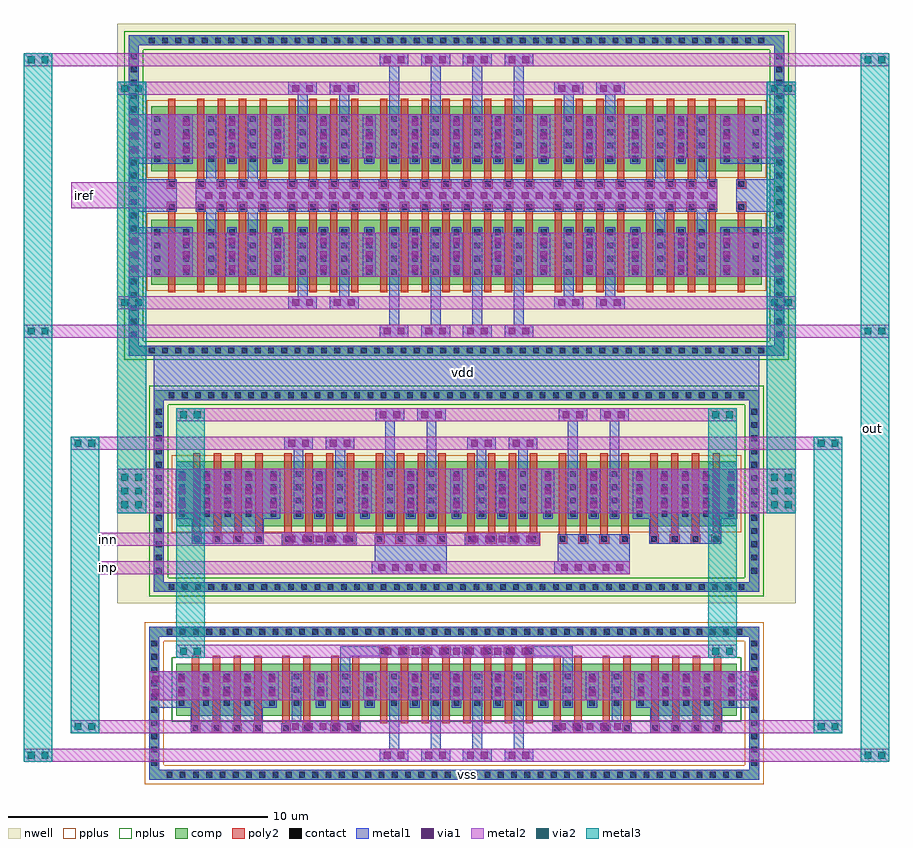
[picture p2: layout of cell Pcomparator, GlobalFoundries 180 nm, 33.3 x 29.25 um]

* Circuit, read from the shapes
.subckt Pcomparator inn inp iref out vdd vss
XM1 vss vss vss vss nfet_03v3 w=2u l=0.28u m=8
XM2 n1 n1 vss vss nfet_03v3 w=2u l=0.28u m=4
XM3 n2 n1 vss vss nfet_03v3 w=2u l=0.28u m=4
XM4 out n2 vss vss nfet_03v3 w=2u l=0.28u m=8
XM5 vdd vdd vdd vdd pfet_03v3 w=2.5u l=0.28u m=4
XM6 n3 n3 n3 vdd pfet_03v3 w=2.5u l=0.28u m=8
XM7 iref iref vdd vdd pfet_03v3 w=2.5u l=0.28u m=16
XM8 n1 inn n3 vdd pfet_03v3 w=2.5u l=0.28u m=8
XM9 n3 iref vdd vdd pfet_03v3 w=2.5u l=0.28u m=16
XM10 n2 inp n3 vdd pfet_03v3 w=2.5u l=0.28u m=8
XM11 out iref vdd vdd pfet_03v3 w=2.5u l=0.28u m=16
.ends

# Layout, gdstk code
import gdstk
lib = gdstk.Library(unit=1e-6, precision=5e-09)
def R(c, l, rs):  # rectangles x0, y0, x1, y1
    for r in rs: c.add(gdstk.rectangle(r[:2], r[2:], *l))
def A(c, l, x, y, w, h, nx, ny, dx, dy):  # array of equal rectangles
    R(c, l, [(x+i*dx, y+j*dy, x+i*dx+w, y+j*dy+h) for i in range(nx) for j in range(ny)])
nwell = (21, 0)
comp = (22, 0)
poly2 = (30, 0)
pplus = (31, 0)
nplus = (32, 0)
contact = (33, 0)
metal1 = (34, 0)
via1 = (35, 0)
metal2 = (36, 0)
via2 = (38, 0)
metal3 = (42, 0)

pfet_13 = lib.new_cell('pfet$13')
R(pfet_13, nwell, [(-0.9,-0.44,7.16,2.94)])
R(pfet_13, comp, [(-0.46,0,0,2.5), (0,0,6.26,2.5), (6.26,0,6.72,2.5)])
A(pfet_13, poly2, 0.19, -0.3, 0.28, 3.1, 8, 1, 0.8, 0)
A(pfet_13, poly2, 0.14, 2.8, 0.38, 0.38, 8, 1, 0.8, 0)
R(pfet_13, pplus, [(-0.63,-0.24,6.89,2.74)])
A(pfet_13, contact, -0.34, 0.375, 0.22, 0.22, 1, 4, 0, 0.51)
A(pfet_13, contact, 0.62, 0.375, 0.22, 0.22, 7, 4, 0.8, 0.51)
A(pfet_13, contact, 6.38, 0.375, 0.22, 0.22, 1, 4, 0, 0.51)
A(pfet_13, contact, 0.22, 2.88, 0.22, 0.22, 8, 1, 0.8, 0)
A(pfet_13, metal1, 0.54, 0.295, 0.38, 1.91, 7, 1, 0.8, 0)
A(pfet_13, metal1, 0.14, 2.8, 0.38, 0.38, 8, 1, 0.8, 0)
R(pfet_13, metal1, [(-0.42,0.295,-0.04,2.205), (6.3,0.295,6.68,2.205)])

nfet_15 = lib.new_cell('nfet$15')
R(nfet_15, comp, [(-0.42,0,0,2), (0,0,6.26,2), (6.26,0,6.68,2)])
A(nfet_15, poly2, 0.15, -0.66, 0.36, 0.36, 8, 1, 0.8, 0)
A(nfet_15, poly2, 0.19, -0.3, 0.28, 2.6, 8, 1, 0.8, 0)
R(nfet_15, nplus, [(-0.59,-0.24,6.85,2.24)])
A(nfet_15, contact, 0.22, -0.59, 0.22, 0.22, 8, 1, 0.8, 0)
A(nfet_15, contact, -0.32, 0.38, 0.22, 0.22, 1, 3, 0, 0.51)
A(nfet_15, contact, 0.62, 0.38, 0.22, 0.22, 7, 3, 0.8, 0.51)
A(nfet_15, contact, 6.36, 0.38, 0.22, 0.22, 1, 3, 0, 0.51)
A(nfet_15, metal1, 0.14, -0.67, 0.38, 0.38, 8, 1, 0.8, 0)
A(nfet_15, metal1, 0.54, 0.3, 0.38, 1.4, 7, 1, 0.8, 0)
R(nfet_15, metal1, [(-0.4,0.3,-0.02,1.7), (6.28,0.3,6.66,1.7)])

pfet_14 = lib.new_cell('pfet$14')
R(pfet_14, nwell, [(-0.9,-0.44,3.96,2.94)])
R(pfet_14, comp, [(-0.46,0,0,2.5), (0,0,3.06,2.5), (3.06,0,3.52,2.5)])
A(pfet_14, poly2, 0.19, -0.3, 0.28, 3.1, 4, 1, 0.8, 0)
A(pfet_14, poly2, 0.14, 2.8, 0.38, 0.38, 4, 1, 0.8, 0)
R(pfet_14, pplus, [(-0.63,-0.24,3.69,2.74)])
A(pfet_14, contact, -0.34, 0.375, 0.22, 0.22, 1, 4, 0, 0.51)
A(pfet_14, contact, 0.62, 0.375, 0.22, 0.22, 3, 4, 0.8, 0.51)
A(pfet_14, contact, 3.18, 0.375, 0.22, 0.22, 1, 4, 0, 0.51)
A(pfet_14, contact, 0.22, 2.88, 0.22, 0.22, 4, 1, 0.8, 0)
A(pfet_14, metal1, 0.54, 0.295, 0.38, 1.91, 3, 1, 0.8, 0)
A(pfet_14, metal1, 0.14, 2.8, 0.38, 0.38, 4, 1, 0.8, 0)
R(pfet_14, metal1, [(-0.42,0.295,-0.04,2.205), (3.1,0.295,3.48,2.205)])

via_dev_60 = lib.new_cell('via_dev$60')
R(via_dev_60, metal1, [(0,0,5.9,0.5)])
A(via_dev_60, via1, 0.17, 0.12, 0.26, 0.26, 11, 1, 0.53, 0)
R(via_dev_60, metal2, [(0,0,5.9,0.5)])

via_dev_61 = lib.new_cell('via_dev$61')
R(via_dev_61, metal1, [(0,0,0.5,1.1)])
R(via_dev_61, via1, [(0.12,0.155,0.38,0.415), (0.12,0.685,0.38,0.945)])
R(via_dev_61, metal2, [(0,0,0.5,1.1)])

via_dev_62 = lib.new_cell('via_dev$62')
R(via_dev_62, metal1, [(0,0,0.5,1.7)])
A(via_dev_62, via1, 0.12, 0.19, 0.26, 0.26, 1, 3, 0, 0.53)
R(via_dev_62, metal2, [(0,0,0.5,1.7)])

via_dev_63 = lib.new_cell('via_dev$63')
R(via_dev_63, metal1, [(0,0,19.7,0.5)])
A(via_dev_63, via1, 0.18, 0.12, 0.26, 0.26, 37, 1, 0.53, 0)
R(via_dev_63, metal2, [(0,0,19.7,0.5)])

via_dev_64 = lib.new_cell('via_dev$64')
R(via_dev_64, metal1, [(0,0,0.5,1.7)])
A(via_dev_64, via1, 0.12, 0.19, 0.26, 0.26, 1, 3, 0, 0.53)
R(via_dev_64, metal2, [(0,0,0.5,1.7)])

pfet_15 = lib.new_cell('pfet$15')
R(pfet_15, nwell, [(-0.9,-0.44,1.56,2.94)])
R(pfet_15, comp, [(-0.46,0,0,2.5), (0,0,0.66,2.5), (0.66,0,1.12,2.5)])
R(pfet_15, poly2, [(0.14,-0.68,0.52,-0.3), (0.19,-0.3,0.47,2.8)])
R(pfet_15, pplus, [(-0.63,-0.24,1.29,2.74)])
A(pfet_15, contact, -0.34, 0.375, 0.22, 0.22, 1, 4, 0, 0.51)
A(pfet_15, contact, 0.78, 0.375, 0.22, 0.22, 1, 4, 0, 0.51)
R(pfet_15, contact, [(0.22,-0.6,0.44,-0.38)])
R(pfet_15, metal1, [(0.14,-0.68,0.52,-0.3), (-0.42,0.295,-0.04,2.205), (0.7,0.295,1.08,2.205)])

via_dev_65 = lib.new_cell('via_dev$65')
R(via_dev_65, metal1, [(0,0,1.1,0.5)])
R(via_dev_65, via1, [(0.155,0.12,0.415,0.38), (0.685,0.12,0.945,0.38)])
R(via_dev_65, metal2, [(0,0,1.1,0.5)])

via_dev_66 = lib.new_cell('via_dev$66')
R(via_dev_66, metal2, [(0,0,1.1,0.5)])
R(via_dev_66, via2, [(0.155,0.12,0.415,0.38), (0.685,0.12,0.945,0.38)])
R(via_dev_66, metal3, [(0,0,1.1,0.5)])

via_dev_67 = lib.new_cell('via_dev$67')
R(via_dev_67, metal1, [(0,0,2.9,0.5)])
A(via_dev_67, via1, 0.26, 0.12, 0.26, 0.26, 5, 1, 0.53, 0)
R(via_dev_67, metal2, [(0,0,2.9,0.5)])

nfet_16 = lib.new_cell('nfet$16')
R(nfet_16, comp, [(-0.42,0,0,2), (0,0,3.06,2), (3.06,0,3.48,2)])
A(nfet_16, poly2, 0.15, -0.66, 0.36, 0.36, 4, 1, 0.8, 0)
A(nfet_16, poly2, 0.19, -0.3, 0.28, 2.6, 4, 1, 0.8, 0)
R(nfet_16, nplus, [(-0.59,-0.24,3.65,2.24)])
A(nfet_16, contact, 0.22, -0.59, 0.22, 0.22, 4, 1, 0.8, 0)
A(nfet_16, contact, -0.32, 0.38, 0.22, 0.22, 1, 3, 0, 0.51)
A(nfet_16, contact, 0.62, 0.38, 0.22, 0.22, 3, 3, 0.8, 0.51)
A(nfet_16, contact, 3.16, 0.38, 0.22, 0.22, 1, 3, 0, 0.51)
A(nfet_16, metal1, 0.14, -0.67, 0.38, 0.38, 4, 1, 0.8, 0)
A(nfet_16, metal1, 0.54, 0.3, 0.38, 1.4, 3, 1, 0.8, 0)
R(nfet_16, metal1, [(-0.4,0.3,-0.02,1.7), (3.08,0.3,3.46,1.7)])

nfet_17 = lib.new_cell('nfet$17')
R(nfet_17, comp, [(-0.42,0,0,2), (0,0,1.46,2), (1.46,0,1.88,2)])
R(nfet_17, poly2, [(0.19,-0.3,0.47,2.3), (0.99,-0.3,1.27,2.3), (0.15,2.3,0.51,2.66), (0.95,2.3,1.31,2.66)])
R(nfet_17, nplus, [(-0.59,-0.24,2.05,2.24)])
A(nfet_17, contact, -0.32, 0.38, 0.22, 0.22, 3, 3, 0.94, 0.51)
R(nfet_17, contact, [(0.22,2.37,0.44,2.59), (1.02,2.37,1.24,2.59)])
A(nfet_17, metal1, -0.4, 0.3, 0.38, 1.4, 3, 1, 0.94, 0)
R(nfet_17, metal1, [(0.14,2.29,0.52,2.67), (0.94,2.29,1.32,2.67)])

via_dev_68 = lib.new_cell('via_dev$68')
R(via_dev_68, metal2, [(0,0,1.1,1.7)])
A(via_dev_68, via2, 0.155, 0.19, 0.26, 0.26, 1, 3, 0, 0.53)
A(via_dev_68, via2, 0.685, 0.19, 0.26, 0.26, 1, 3, 0, 0.53)
R(via_dev_68, metal3, [(0,0,1.1,1.7)])

pcomparator = lib.new_cell('Pcomparator')
R(pcomparator, nwell, [(11.655,-12.025,37.755,10.275)])
R(pcomparator, pplus, [(12.715,-18.975,13.435,-12.755), (12.715,-18.975,36.525,-18.255), (35.805,-18.975,36.525,-12.755), (12.715,-13.475,36.525,-12.755)])
R(pcomparator, nplus, [(12.885,-11.755,13.605,-3.655), (13.605,-11.755,36.525,-11.035), (35.805,-11.755,36.525,-3.655), (13.605,-4.375,36.525,-3.655), (11.925,-2.655,12.645,10.005), (12.645,-2.655,37.485,-1.935), (36.765,-2.655,37.485,10.005), (12.645,9.285,37.485,10.005)])
A(pcomparator, contact, 13.545, -18.725, 0.22, 0.22, 44, 2, 0.51, 5.5)
A(pcomparator, contact, 12.965, -18.27, 0.22, 0.22, 1, 10, 0, 0.51)
A(pcomparator, contact, 36.055, -18.27, 0.22, 0.22, 1, 10, 0, 0.51)
A(pcomparator, contact, 13.63, -11.505, 0.22, 0.22, 44, 2, 0.51, 7.38)
A(pcomparator, contact, 13.135, -10.875, 0.22, 0.22, 1, 13, 0, 0.51)
A(pcomparator, contact, 36.055, -10.875, 0.22, 0.22, 1, 13, 0, 0.51)
A(pcomparator, contact, 12.865, -2.405, 0.22, 0.22, 47, 2, 0.51, 11.94)
A(pcomparator, contact, 12.175, -1.79, 0.22, 0.22, 1, 22, 0, 0.51)
A(pcomparator, contact, 37.015, -1.79, 0.22, 0.22, 1, 22, 0, 0.51)
A(pcomparator, metal1, 22.115, -17.615, 0.38, 1.57, 4, 1, 1.6, 0)
A(pcomparator, metal1, 14.895, -9.735, 2.02, 0.38, 6, 1, 3.52, 0)
A(pcomparator, metal1, 22.115, -1.295, 0.38, 1.835, 4, 2, 1.6, 8.105)
R(pcomparator, metal1, [(12.885,-18.805,36.355,-18.425), (12.885,-18.805,13.265,-12.925), (35.975,-18.425,36.355,-12.925), (14.855,-17.015,16.875,-16.635), (18.335,-17.015,20.635,-16.635), (28.775,-17.015,31.075,-16.635), (32.535,-17.015,34.555,-16.635), (14.475,-16.635,17.255,-16.045), (32.155,-16.635,34.935,-16.045), (18.355,-16.515,18.735,-16.045), (30.675,-16.515,31.055,-16.045), (13.265,-16.045,17.415,-14.645), (31.995,-16.045,35.975,-14.645), (20.235,-14.645,20.615,-13.675), (28.795,-14.645,29.175,-13.675), (20.235,-14.055,21.715,-13.675), (22.095,-14.055,27.315,-13.675), (27.695,-14.055,29.175,-13.675), (12.885,-13.305,36.355,-12.925), (13.055,-11.585,13.435,-3.825), (13.435,-11.585,36.355,-11.205), (35.975,-11.205,36.355,-3.825), (21.555,-10.895,24.335,-9.735), (28.595,-10.895,31.375,-9.735), (14.515,-9.355,17.295,-8.76), (32.115,-9.355,34.895,-8.76), (13.895,-8.76,17.915,-6.85), (31.495,-8.76,35.515,-6.85), (18.435,-6.85,18.815,-6.115), (20.035,-6.85,20.415,-6.115), (21.955,-6.85,22.335,-5.015), (23.555,-6.85,23.935,-5.015), (25.475,-6.85,25.855,-6.115), (27.075,-6.85,27.455,-6.115), (28.995,-6.85,29.375,-5.015), (30.595,-6.85,30.975,-5.015), (13.435,-4.205,35.975,-3.825), (13.055,-3.825,36.355,-2.485), (12.095,-2.485,12.475,9.835), (12.475,-2.485,37.315,-2.105), (36.935,-2.105,37.315,9.835), (18.595,-0.195,18.975,0.54), (20.195,-0.195,20.575,0.54), (28.835,-0.195,29.215,0.54), (30.435,-0.195,30.815,0.54), (12.475,0.54,14.555,2.45), (34.855,0.54,36.935,2.45), (15.075,2.45,15.455,3.045), (16.675,2.45,17.055,3.045), (32.355,2.45,32.735,3.045), (33.955,2.45,34.335,3.045), (12.475,3.045,13.555,4.305), (14.675,3.045,34.735,4.305), (15.055,3.045,17.075,3.425), (18.575,3.045,20.595,3.425), (22.095,3.045,27.315,3.425), (28.815,3.045,30.835,3.425), (32.335,3.045,34.355,3.425), (35.855,3.045,36.935,4.305), (13.555,3.425,13.935,3.925), (35.475,3.425,35.855,3.925), (15.055,3.925,17.075,4.305), (18.575,3.925,20.595,4.305), (22.095,3.925,27.315,4.305), (28.815,3.925,30.835,4.305), (32.335,3.925,34.355,4.305), (15.075,4.305,15.455,4.9), (16.675,4.305,17.055,4.9), (32.355,4.305,32.735,4.9), (33.955,4.305,34.335,4.9), (12.475,4.9,14.555,6.81), (34.855,4.9,36.935,6.81), (18.595,6.81,18.975,7.545), (20.195,6.81,20.575,7.545), (28.835,6.81,29.215,7.545), (30.435,6.81,30.815,7.545), (12.475,9.455,36.935,9.835)])
R(pcomparator, metal2, [(8.055,-18.115,41.355,-17.615), (9.855,-17.015,39.555,-16.515), (12.885,-15.745,36.355,-14.645), (13.915,-14.115,35.495,-13.615), (10.955,-10.895,31.375,-10.395), (10.955,-9.8,27.92,-9.3), (11.655,-8.55,37.755,-6.85), (9.855,-6.115,39.555,-5.615), (13.915,-5.015,35.495,-4.515), (8.055,-1.795,41.355,-1.295), (11.655,-0.695,37.755,-0.195), (12.095,0.54,37.315,2.24), (9.87,3.175,34.735,4.175), (12.095,5.11,37.315,6.81), (11.655,7.545,37.755,8.045), (8.055,8.645,41.355,9.145)])
R(pcomparator, metal3, [(8.055,-18.115,9.155,9.145), (40.255,-18.115,41.355,9.145), (9.855,-17.015,10.955,-5.615), (38.455,-17.015,39.555,-5.615), (13.915,-14.115,15.015,-5.015), (34.395,-14.115,35.495,-5.015), (11.655,-6.85,12.755,7.545), (36.655,-6.85,37.755,7.545)])
pcomparator.add(gdstk.FlexPath([(13.075,-13.005),(13.075,-18.615),(36.355,-18.615)], 0.38, ends="flush", simple_path=True, layer=22, datatype=0))  # comp
pcomparator.add(gdstk.FlexPath([(12.885,-13.115),(36.355,-13.115)], 0.38, ends="flush", simple_path=True, layer=22, datatype=0))  # comp
pcomparator.add(gdstk.FlexPath([(36.165,-18.595),(36.165,-12.925)], 0.38, ends="flush", simple_path=True, layer=22, datatype=0))  # comp
pcomparator.add(gdstk.FlexPath([(13.245,-3.94),(13.245,-11.395),(36.355,-11.395)], 0.38, ends="flush", simple_path=True, layer=22, datatype=0))  # comp
pcomparator.add(gdstk.FlexPath([(13.055,-4.015),(36.355,-4.015)], 0.38, ends="flush", simple_path=True, layer=22, datatype=0))  # comp
pcomparator.add(gdstk.FlexPath([(36.165,-11.395),(36.165,-3.99)], 0.38, ends="flush", simple_path=True, layer=22, datatype=0))  # comp
pcomparator.add(gdstk.FlexPath([(12.285,9.585),(12.285,-2.295),(37.315,-2.295)], 0.38, ends="flush", simple_path=True, layer=22, datatype=0))  # comp
pcomparator.add(gdstk.FlexPath([(37.125,-2.29),(37.125,9.695)], 0.38, ends="flush", simple_path=True, layer=22, datatype=0))  # comp
pcomparator.add(gdstk.FlexPath([(12.095,9.645),(37.315,9.645)], 0.38, ends="flush", simple_path=True, layer=22, datatype=0))  # comp
pcomparator.add(gdstk.Reference(pfet_13, (21.575,7.105), x_reflection=True))
pcomparator.add(gdstk.Reference(nfet_15, (21.575,-14.345), x_reflection=True))
pcomparator.add(gdstk.Reference(pfet_13, (21.575,0.245)))
pcomparator.add(gdstk.Reference(pfet_14, (21.415,-6.555), x_reflection=True))
pcomparator.add(gdstk.Reference(pfet_14, (24.935,-6.555), x_reflection=True))
pcomparator.add(gdstk.Reference(via_dev_60, (21.755,-14.115)))
pcomparator.add(gdstk.Reference(via_dev_61, (24.455,-15.745)))
pcomparator.add(gdstk.Reference(via_dev_62, (24.455,-8.55)))
pcomparator.add(gdstk.Reference(via_dev_63, (14.855,3.425)))
pcomparator.add(gdstk.Reference(via_dev_64, (24.455,5.11)))
pcomparator.add(gdstk.Reference(via_dev_64, (24.455,0.54)))
pcomparator.add(gdstk.Reference(pfet_14, (28.295,7.105), x_reflection=True))
pcomparator.add(gdstk.Reference(pfet_15, (35.335,4.605)))
pcomparator.add(gdstk.Reference(pfet_15, (35.335,2.745), x_reflection=True))
pcomparator.add(gdstk.Reference(pfet_14, (31.815,7.105), x_reflection=True))
pcomparator.add(gdstk.Reference(via_dev_65, (28.475,-0.695)))
pcomparator.add(gdstk.Reference(via_dev_65, (30.075,-0.695)))
pcomparator.add(gdstk.Reference(via_dev_65, (28.475,8.045), x_reflection=True))
pcomparator.add(gdstk.Reference(via_dev_65, (30.075,8.045), x_reflection=True))
pcomparator.add(gdstk.Reference(via_dev_65, (24.955,-1.795)))
pcomparator.add(gdstk.Reference(via_dev_65, (26.555,-1.795)))
pcomparator.add(gdstk.Reference(via_dev_65, (24.955,9.145), x_reflection=True))
pcomparator.add(gdstk.Reference(via_dev_65, (26.555,9.145), x_reflection=True))
pcomparator.add(gdstk.Reference(via_dev_66, (36.655,7.545)))
pcomparator.add(gdstk.Reference(via_dev_66, (36.655,-0.695)))
pcomparator.add(gdstk.Reference(via_dev_66, (40.255,-1.795)))
pcomparator.add(gdstk.Reference(via_dev_66, (40.255,8.645)))
pcomparator.add(gdstk.Reference(pfet_14, (28.295,0.245)))
pcomparator.add(gdstk.Reference(via_dev_64, (26.055,5.11)))
pcomparator.add(gdstk.Reference(via_dev_64, (27.815,5.11)))
pcomparator.add(gdstk.Reference(via_dev_64, (29.575,5.11)))
pcomparator.add(gdstk.Reference(via_dev_64, (31.335,5.11)))
pcomparator.add(gdstk.Reference(via_dev_64, (33.095,5.11)))
pcomparator.add(gdstk.Reference(via_dev_64, (34.855,5.11)))
pcomparator.add(gdstk.Reference(pfet_14, (31.815,0.245)))
pcomparator.add(gdstk.Reference(via_dev_64, (26.055,0.54)))
pcomparator.add(gdstk.Reference(via_dev_64, (27.815,0.54)))
pcomparator.add(gdstk.Reference(via_dev_64, (29.575,0.54)))
pcomparator.add(gdstk.Reference(via_dev_64, (31.335,0.54)))
pcomparator.add(gdstk.Reference(via_dev_64, (33.095,0.54)))
pcomparator.add(gdstk.Reference(via_dev_64, (34.855,0.54)))
pcomparator.add(gdstk.Reference(via_dev_64, (36.815,0.54)))
pcomparator.add(gdstk.Reference(via_dev_64, (36.815,5.11)))
pcomparator.add(gdstk.Reference(via_dev_65, (18.235,8.045), x_reflection=True))
pcomparator.add(gdstk.Reference(via_dev_65, (19.835,8.045), x_reflection=True))
pcomparator.add(gdstk.Reference(via_dev_64, (14.055,5.11)))
pcomparator.add(gdstk.Reference(via_dev_64, (15.815,5.11)))
pcomparator.add(gdstk.Reference(via_dev_64, (17.575,5.11)))
pcomparator.add(gdstk.Reference(via_dev_64, (19.335,5.11)))
pcomparator.add(gdstk.Reference(via_dev_64, (21.095,5.11)))
pcomparator.add(gdstk.Reference(via_dev_64, (22.855,5.11)))
pcomparator.add(gdstk.Reference(pfet_15, (13.415,4.605)))
pcomparator.add(gdstk.Reference(pfet_14, (14.535,7.105), x_reflection=True))
pcomparator.add(gdstk.Reference(via_dev_65, (21.755,-1.795)))
pcomparator.add(gdstk.Reference(via_dev_65, (23.355,-1.795)))
pcomparator.add(gdstk.Reference(pfet_15, (13.415,2.745), x_reflection=True))
pcomparator.add(gdstk.Reference(pfet_14, (14.535,0.245)))
pcomparator.add(gdstk.Reference(via_dev_65, (21.755,9.145), x_reflection=True))
pcomparator.add(gdstk.Reference(via_dev_64, (14.055,0.54)))
pcomparator.add(gdstk.Reference(via_dev_64, (15.815,0.54)))
pcomparator.add(gdstk.Reference(via_dev_64, (17.575,0.54)))
pcomparator.add(gdstk.Reference(via_dev_64, (19.335,0.54)))
pcomparator.add(gdstk.Reference(via_dev_64, (21.095,0.54)))
pcomparator.add(gdstk.Reference(via_dev_64, (22.855,0.54)))
pcomparator.add(gdstk.Reference(via_dev_65, (23.355,9.145), x_reflection=True))
pcomparator.add(gdstk.Reference(via_dev_65, (18.235,-0.695)))
pcomparator.add(gdstk.Reference(via_dev_65, (19.835,-0.695)))
pcomparator.add(gdstk.Reference(pfet_14, (18.055,7.105), x_reflection=True))
pcomparator.add(gdstk.Reference(via_dev_66, (11.655,-0.695)))
pcomparator.add(gdstk.Reference(pfet_14, (18.055,0.245)))
pcomparator.add(gdstk.Reference(via_dev_66, (11.655,7.545)))
pcomparator.add(gdstk.Reference(via_dev_64, (12.095,5.11)))
pcomparator.add(gdstk.Reference(via_dev_64, (12.095,0.54)))
pcomparator.add(gdstk.Reference(via_dev_66, (8.055,8.645)))
pcomparator.add(gdstk.Reference(via_dev_66, (8.055,-1.795)))
pcomparator.add(gdstk.Reference(via_dev_67, (21.435,-10.895)))
pcomparator.add(gdstk.Reference(via_dev_66, (8.055,-18.115)))
pcomparator.add(gdstk.Reference(nfet_16, (14.335,-16.345)))
pcomparator.add(gdstk.Reference(pfet_14, (14.375,-6.555), x_reflection=True))
pcomparator.add(gdstk.Reference(via_dev_67, (18.115,-17.015)))
pcomparator.add(gdstk.Reference(via_dev_65, (21.755,-18.115)))
pcomparator.add(gdstk.Reference(via_dev_65, (23.355,-18.115)))
pcomparator.add(gdstk.Reference(pfet_14, (17.895,-6.555), x_reflection=True))
pcomparator.add(gdstk.Reference(via_dev_61, (12.885,-15.745)))
pcomparator.add(gdstk.Reference(via_dev_61, (13.875,-15.745)))
pcomparator.add(gdstk.Reference(via_dev_61, (14.815,-15.745)))
pcomparator.add(gdstk.Reference(via_dev_61, (15.615,-15.745)))
pcomparator.add(gdstk.Reference(via_dev_61, (21.115,-15.745)))
pcomparator.add(gdstk.Reference(via_dev_61, (22.855,-15.745)))
pcomparator.add(gdstk.Reference(nfet_17, (17.815,-14.345), x_reflection=True))
pcomparator.add(gdstk.Reference(via_dev_62, (20.935,-8.55)))
pcomparator.add(gdstk.Reference(via_dev_62, (19.175,-8.55)))
pcomparator.add(gdstk.Reference(via_dev_62, (17.415,-8.55)))
pcomparator.add(gdstk.Reference(nfet_17, (19.695,-14.345), x_reflection=True))
pcomparator.add(gdstk.Reference(via_dev_62, (22.695,-8.55)))
pcomparator.add(gdstk.Reference(via_dev_62, (13.895,-8.55)))
pcomparator.add(gdstk.Reference(via_dev_62, (15.655,-8.55)))
pcomparator.add(gdstk.Reference(via_dev_62, (16.455,-8.55)))
pcomparator.add(gdstk.Reference(via_dev_62, (14.855,-8.55)))
pcomparator.add(gdstk.Reference(via_dev_68, (11.655,-8.55)))
pcomparator.add(gdstk.Reference(via_dev_65, (18.075,-6.115)))
pcomparator.add(gdstk.Reference(via_dev_65, (19.675,-6.115)))
pcomparator.add(gdstk.Reference(via_dev_65, (21.595,-5.015)))
pcomparator.add(gdstk.Reference(via_dev_65, (23.195,-5.015)))
pcomparator.add(gdstk.Reference(via_dev_66, (9.855,-6.115)))
pcomparator.add(gdstk.Reference(via_dev_66, (9.855,-17.015)))
pcomparator.add(gdstk.Reference(via_dev_66, (13.915,-5.015)))
pcomparator.add(gdstk.Reference(via_dev_66, (13.915,-14.115)))
pcomparator.add(gdstk.Reference(via_dev_67, (17.975,-9.795)))
pcomparator.add(gdstk.Reference(via_dev_61, (16.415,-15.745)))
pcomparator.add(gdstk.Reference(via_dev_61, (17.355,-15.745)))
pcomparator.add(gdstk.Reference(via_dev_61, (19.235,-15.745)))
pcomparator.add(gdstk.Reference(via_dev_62, (32.455,-8.55)))
pcomparator.add(gdstk.Reference(via_dev_67, (28.395,-17.015)))
pcomparator.add(gdstk.Reference(pfet_14, (31.975,-6.555), x_reflection=True))
pcomparator.add(gdstk.Reference(via_dev_61, (26.055,-15.745)))
pcomparator.add(gdstk.Reference(via_dev_62, (33.255,-8.55)))
pcomparator.add(gdstk.Reference(via_dev_61, (27.795,-15.745)))
pcomparator.add(gdstk.Reference(via_dev_62, (34.055,-8.55)))
pcomparator.add(gdstk.Reference(via_dev_61, (35.855,-15.745)))
pcomparator.add(gdstk.Reference(via_dev_65, (25.115,-6.115)))
pcomparator.add(gdstk.Reference(via_dev_65, (26.715,-6.115)))
pcomparator.add(gdstk.Reference(via_dev_61, (35.035,-15.745)))
pcomparator.add(gdstk.Reference(nfet_17, (28.255,-14.345), x_reflection=True))
pcomparator.add(gdstk.Reference(via_dev_65, (28.635,-5.015)))
pcomparator.add(gdstk.Reference(via_dev_65, (30.235,-5.015)))
pcomparator.add(gdstk.Reference(pfet_14, (28.455,-6.555), x_reflection=True))
pcomparator.add(gdstk.Reference(via_dev_67, (25.015,-9.8)))
pcomparator.add(gdstk.Reference(via_dev_65, (24.955,-18.115)))
pcomparator.add(gdstk.Reference(via_dev_67, (28.475,-10.895)))
pcomparator.add(gdstk.Reference(via_dev_68, (36.655,-8.55)))
pcomparator.add(gdstk.Reference(nfet_16, (32.015,-16.345)))
pcomparator.add(gdstk.Reference(via_dev_65, (26.555,-18.115)))
pcomparator.add(gdstk.Reference(nfet_17, (30.135,-14.345), x_reflection=True))
pcomparator.add(gdstk.Reference(via_dev_66, (38.455,-17.015)))
pcomparator.add(gdstk.Reference(via_dev_66, (38.455,-6.115)))
pcomparator.add(gdstk.Reference(via_dev_62, (27.975,-8.55)))
pcomparator.add(gdstk.Reference(via_dev_66, (34.395,-5.015)))
pcomparator.add(gdstk.Reference(via_dev_66, (34.395,-14.115)))
pcomparator.add(gdstk.Reference(via_dev_62, (26.215,-8.55)))
pcomparator.add(gdstk.Reference(via_dev_62, (31.495,-8.55)))
pcomparator.add(gdstk.Reference(via_dev_62, (29.735,-8.55)))
pcomparator.add(gdstk.Reference(via_dev_62, (35.015,-8.55)))
pcomparator.add(gdstk.Reference(via_dev_66, (40.255,-18.115)))
pcomparator.add(gdstk.Reference(via_dev_61, (34.095,-15.745)))
pcomparator.add(gdstk.Reference(via_dev_61, (33.295,-15.745)))
pcomparator.add(gdstk.Reference(via_dev_61, (32.495,-15.745)))
pcomparator.add(gdstk.Reference(via_dev_61, (31.555,-15.745)))
pcomparator.add(gdstk.Reference(via_dev_61, (29.675,-15.745)))
pcomparator.add(gdstk.Label('vss', (25.115,-18.615), layer=34, texttype=10))
pcomparator.add(gdstk.Label('vdd', (24.97,-3.13), layer=34, texttype=10))
pcomparator.add(gdstk.Label('iref', (10.395,3.69), layer=36, texttype=10))
pcomparator.add(gdstk.Label('inn', (11.3,-9.55), layer=36, texttype=10))
pcomparator.add(gdstk.Label('inp', (11.295,-10.66), layer=36, texttype=10))
pcomparator.add(gdstk.Label('out', (40.725,-5.28), layer=42, texttype=10))

lib.write_gds('Pcomparator.gds')
